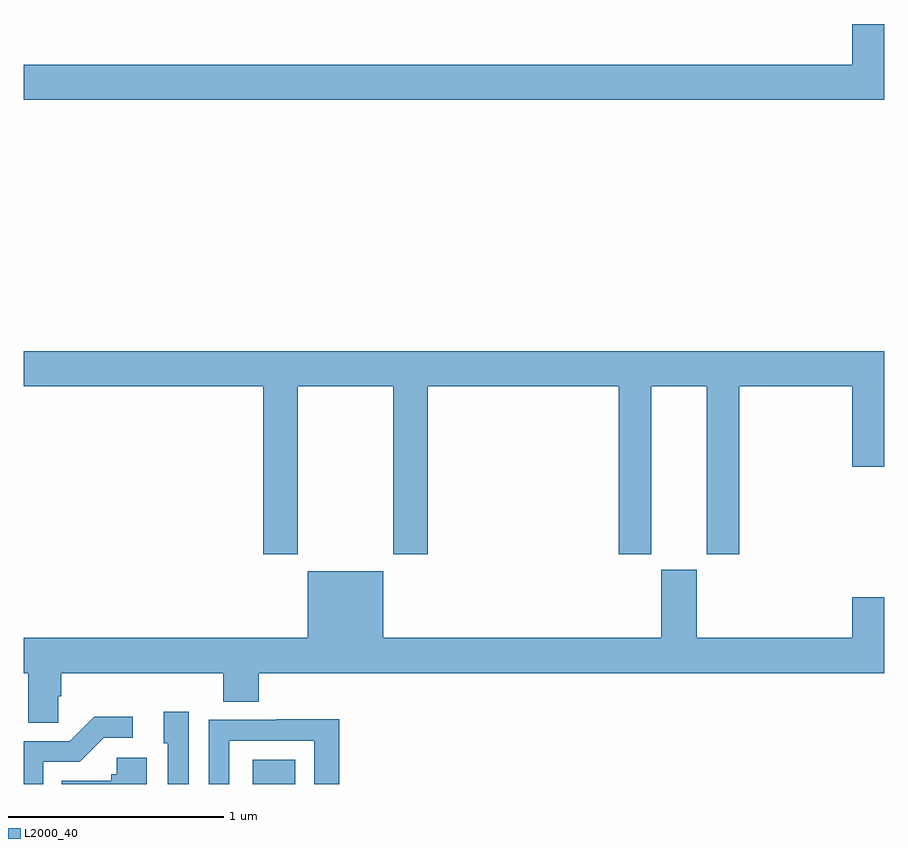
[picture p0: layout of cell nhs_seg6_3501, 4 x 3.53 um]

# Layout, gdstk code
import gdstk
lib = gdstk.Library(unit=1e-6, precision=1e-09)
def R(c, l, rs):  # rectangles x0, y0, x1, y1
    for r in rs: c.add(gdstk.rectangle(r[:2], r[2:], *l))
def P(c, l, *ps):  # polygons
    for p in ps: c.add(gdstk.Polygon(p, *l))
L2000_40 = (2000, 40)

nhs_seg6_3501 = lib.new_cell('nhs_seg6_3501')
R(nhs_seg6_3501, L2000_40, [(318.065,933.5,318.262,933.613)])
P(nhs_seg6_3501, L2000_40, [(321,937.033),(320.852,937.033),(320.852,936.844),(317,936.844),(317,936.68),(321,936.68)],
  [(318.273,935.348),(318.718,935.348),(318.718,934.569),(318.878,934.569),(318.878,935.348),(319.766,935.348),(319.766,934.569),(319.918,934.569),(319.918,935.348),(320.174,935.348),(320.174,934.569),(320.327,934.569),(320.327,935.348),(320.852,935.348),(320.852,934.974),(321,934.974),(321,935.512),(317,935.512),(317,935.348),(318.113,935.348),(318.113,934.569),(318.273,934.569)],
  [(317.16,933.907),(317.174,933.907),(317.174,934.016),(317.927,934.016),(317.927,933.883),(318.092,933.883),(318.092,934.016),(321,934.016),(321,934.369),(320.852,934.369),(320.852,934.18),(320.128,934.18),(320.128,934.497),(319.964,934.497),(319.964,934.18),(318.67,934.18),(318.67,934.489),(318.32,934.489),(318.32,934.18),(317,934.18),(317,934.016),(317.021,934.016),(317.021,933.784),(317.16,933.784)],
  [(317.766,933.835),(317.651,933.835),(317.651,933.69),(317.67,933.69),(317.67,933.5),(317.766,933.5)],
  [(317.091,933.603),(317.26,933.603),(317.371,933.714),(317.506,933.714),(317.506,933.812),(317.327,933.812),(317.214,933.699),(317,933.699),(317,933.5),(317.091,933.5)],
  [(317.955,933.702),(318.351,933.702),(318.351,933.5),(318.467,933.5),(318.467,933.8),(318.175,933.8),(318.175,933.798),(317.859,933.798),(317.859,933.5),(317.955,933.5)],
  [(317.572,933.622),(317.433,933.622),(317.433,933.546),(317.407,933.546),(317.407,933.514),(317.176,933.514),(317.176,933.5),(317.572,933.5)])

lib.write_gds('nhs_seg6_3501.gds')
